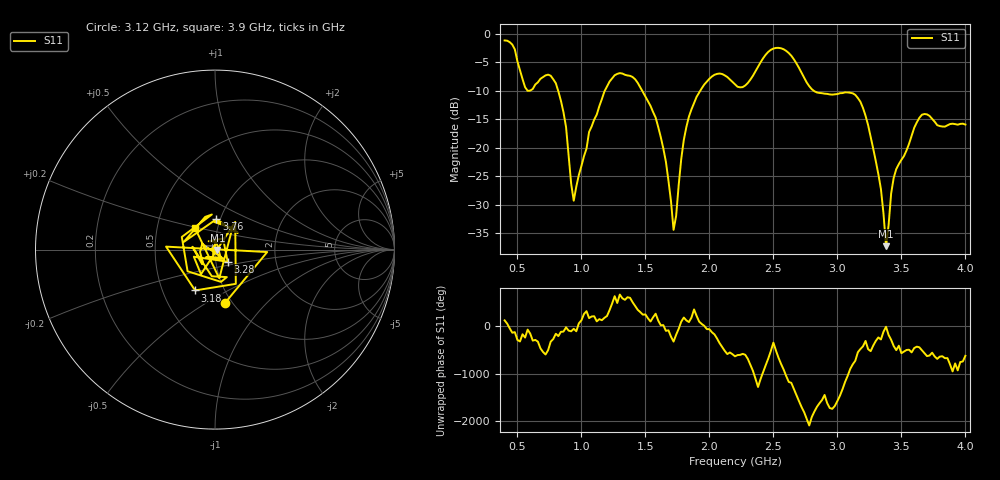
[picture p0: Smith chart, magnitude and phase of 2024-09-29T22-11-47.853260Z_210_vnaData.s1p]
!Created with skrf (http://scikit-rf.org).
# Hz S RI R 50.0
!freq ReS11 ImS11
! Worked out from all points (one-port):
!   181 points, 400 MHz to 4 GHz, reference 50 ohm
!   lowest |S11| = -37.3 dB at 3.38 GHz (marker M1), VSWR 1.03, Z = 51.4 - j0.201 ohm
!   |S11| at or under -10 dB: 818.5 MHz to 1.182 GHz (363.9 MHz wide, 36.4 % of centre); 1.475 GHz to 1.928 GHz (453.1 MHz wide, 26.6 % of centre); 2.816 GHz to end of sweep (the widest 3 of 4)
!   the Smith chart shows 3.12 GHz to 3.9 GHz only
!   S11 on the Smith chart (normalised r, x): 3.12 GHz: 0.93, -0.60; 3.18 GHz: 0.73, -0.35; 3.28 GHz: 1.14, -0.16; 3.76 GHz: 0.96, +0.33; 3.9 GHz: 0.78, +0.19
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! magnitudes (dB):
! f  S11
! 400 MHz  -1.2
! 580 MHz  -10.0
! 760 MHz  -7.4
! 860 MHz  -13.8
! 940 MHz  -29.3
! 1.06 GHz  -17.2
! 1.3 GHz  -6.9
! 1.58 GHz  -14.7
! 1.66 GHz  -22.4
! 1.72 GHz  -34.4
! 1.76 GHz  -26.6
! 1.82 GHz  -16.4
! 1.9 GHz  -11.1
! 2.2 GHz  -8.9
! 2.5 GHz  -2.6
! 2.66 GHz  -4.5
! 2.82 GHz  -10.1
! 3.1 GHz  -10.4
! 3.12 GHz  -10.4
! 3.18 GHz  -11.9
! 3.28 GHz  -20.2
! 3.34 GHz  -27.2
! 3.38 GHz  -37.3
! 3.44 GHz  -25.3
! 3.56 GHz  -19.3
! 3.76 GHz  -15.4
! 3.9 GHz  -15.8
! 4 GHz  -15.9
